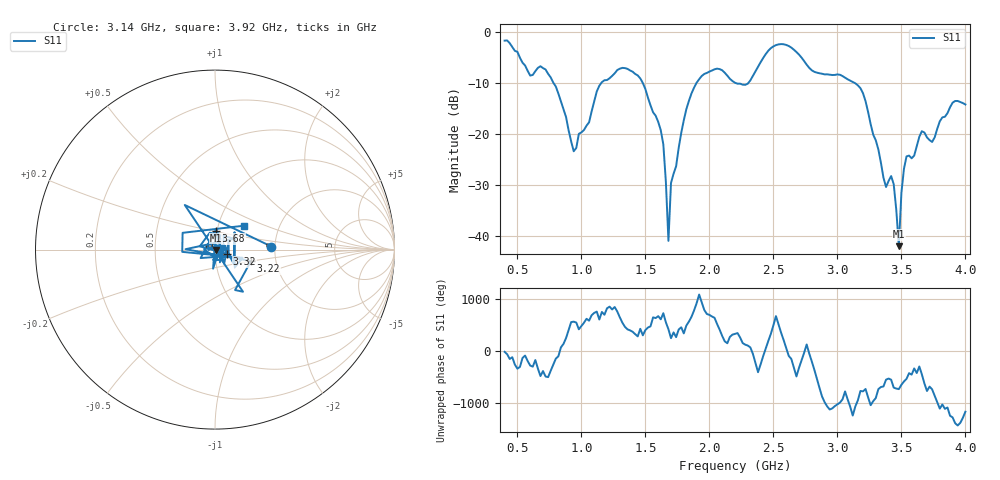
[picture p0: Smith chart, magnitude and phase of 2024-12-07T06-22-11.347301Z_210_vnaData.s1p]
!Created with skrf (http://scikit-rf.org).
# Hz S RI R 50.0
!freq ReS11 ImS11
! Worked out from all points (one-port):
!   181 points, 400 MHz to 4 GHz, reference 50 ohm
!   lowest |S11| = -42.0 dB at 3.48 GHz (marker M1), VSWR 1.02, Z = 50.8 - j0.28 ohm
!   |S11| at or under -10 dB: 782.5 MHz to 1.155 GHz (372.3 MHz wide, 38.4 % of centre); 1.48 GHz to 1.899 GHz (418.3 MHz wide, 24.8 % of centre); 3.137 GHz to end of sweep (the widest 3 of 4)
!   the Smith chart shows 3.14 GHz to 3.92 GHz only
!   S11 on the Smith chart (normalised r, x): 3.14 GHz: 1.91, +0.07; 3.22 GHz: 1.48, -0.20; 3.32 GHz: 1.14, -0.06; 3.68 GHz: 0.99, +0.21; 3.92 GHz: 1.33, +0.37
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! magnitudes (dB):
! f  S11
! 400 MHz  -1.7
! 720 MHz  -7.3
! 860 MHz  -15.1
! 940 MHz  -23.4
! 1.14 GHz  -10.5
! 1.3 GHz  -7.2
! 1.46 GHz  -9.1
! 1.62 GHz  -19.2
! 1.64 GHz  -22.0
! 1.68 GHz  -40.9
! 1.7 GHz  -29.6
! 1.76 GHz  -22.7
! 1.94 GHz  -8.6
! 2.2 GHz  -9.9
! 2.66 GHz  -3.5
! 3.1 GHz  -9.5
! 3.14 GHz  -10.0
! 3.22 GHz  -13.5
! 3.32 GHz  -23.0
! 3.38 GHz  -30.4
! 3.44 GHz  -29.8
! 3.48 GHz  -42.0
! 3.52 GHz  -26.8
! 3.56 GHz  -24.2
! 3.68 GHz  -19.7
! 3.74 GHz  -21.5
! 3.92 GHz  -13.5
! 4 GHz  -14.2
